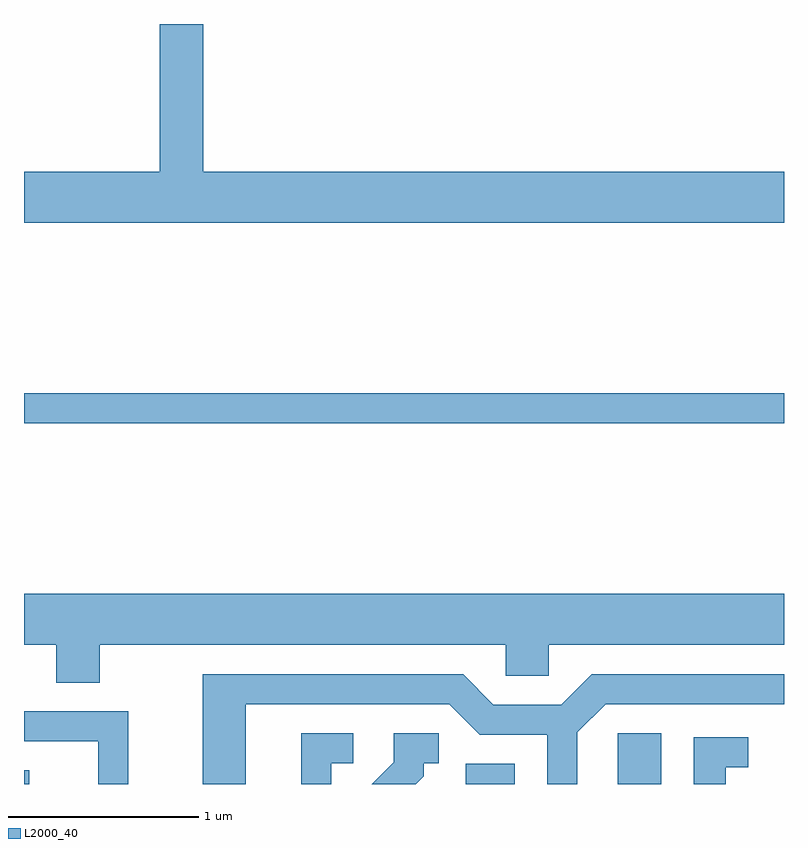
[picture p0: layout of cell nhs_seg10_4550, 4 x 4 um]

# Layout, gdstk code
import gdstk
lib = gdstk.Library(unit=1e-6, precision=1e-09)
def R(c, l, rs):  # rectangles x0, y0, x1, y1
    for r in rs: c.add(gdstk.rectangle(r[:2], r[2:], *l))
def P(c, l, *ps):  # polygons
    for p in ps: c.add(gdstk.Polygon(p, *l))
L2000_40 = (2000, 40)

nhs_seg10_4550 = lib.new_cell('nhs_seg10_4550')
R(nhs_seg10_4550, L2000_40, [(319.611,2106.522,319.639,2106.594), (321.936,2106.522,322.194,2106.629), (322.736,2106.522,322.964,2106.789), (319.611,2108.421,323.611,2108.579)])
P(nhs_seg10_4550, L2000_40, [(323.611,2109.744),(320.554,2109.744),(320.554,2110.522),(320.326,2110.522),(320.326,2109.744),(319.611,2109.744),(319.611,2109.476),(323.611,2109.476)],
  [(320.009,2107.256),(322.146,2107.256),(322.146,2107.091),(322.374,2107.091),(322.374,2107.256),(323.611,2107.256),(323.611,2107.524),(319.611,2107.524),(319.611,2107.256),(319.781,2107.256),(319.781,2107.056),(320.009,2107.056)],
  [(320.779,2106.941),(321.849,2106.941),(322.009,2106.781),(322.366,2106.781),(322.366,2106.522),(322.524,2106.522),(322.524,2106.794),(322.672,2106.941),(323.611,2106.941),(323.611,2107.099),(322.599,2107.099),(322.439,2106.939),(322.082,2106.939),(321.922,2107.099),(320.551,2107.099),(320.551,2106.522),(320.779,2106.522)],
  [(320.159,2106.904),(319.611,2106.904),(319.611,2106.746),(320.001,2106.746),(320.001,2106.522),(320.159,2106.522)],
  [(321.229,2106.631),(321.343,2106.631),(321.343,2106.789),(321.071,2106.789),(321.071,2106.522),(321.229,2106.522)],
  [(321.714,2106.564),(321.714,2106.631),(321.793,2106.631),(321.793,2106.789),(321.556,2106.789),(321.556,2106.637),(321.442,2106.522),(321.672,2106.522)],
  [(323.304,2106.611),(323.423,2106.611),(323.423,2106.769),(323.136,2106.769),(323.136,2106.522),(323.304,2106.522)])

lib.write_gds('nhs_seg10_4550.gds')
